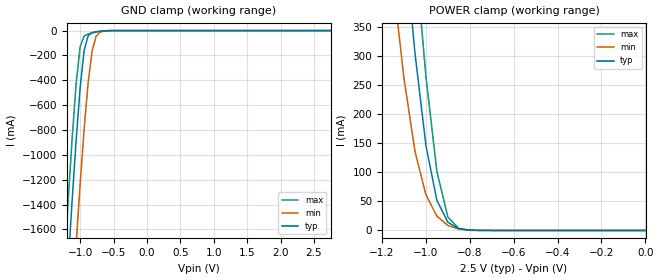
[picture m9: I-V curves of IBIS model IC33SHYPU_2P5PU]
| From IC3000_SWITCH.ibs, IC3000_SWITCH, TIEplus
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|   Model IC33SHYPU_2P5PU
[Model]   IC33SHYPU_2P5PU
Model_type   Input
Polarity   Non-Inverting
Vinl =   0.7500V
Vinh =   1.7500V
C_comp   1.6200pF   1.6200pF   1.6200pF
[Temperature Range]   25.0000   0.1250k   -40.0000
[Voltage Range]   2.5000V   2.2500V   2.7500V
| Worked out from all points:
|   GND clamp passes 1 mA (typ) near -0.59 V on its own axis
|   POWER clamp passes 1 mA (typ) near -0.81 V on its own axis
[GND_clamp]
| voltage   I(typ)   I(min)   I(max)
-2.5V     -14.56A    -15.37A    -14.1A
-1.24V    -2.42A     -3.298A    -1.907A
-1.18V    -1.885A    -2.759A    -1.375A
-1.12V    -1.369A    -2.232A    -871mA
-1.06V    -884.3mA   -1.722A    -427mA
-1V       -460.1mA   -1.237A    -129.1mA
-940mV    -160.3mA   -792.1mA   -42.98mA
-880mV    -41.55mA   -417.1mA   -27.25mA
-820mV    -16.99mA   -160.2mA   -18.17mA
-760mV    -9.549mA   -44.92mA   -10.73mA
-700mV    -5.066mA   -12.55mA   -5.153mA
2.75V     0A         12uA       0A
[POWER_clamp]
| voltage   I(typ)   I(min)   I(max)
-2.5V     8.109A     7.368A     8.703A
-1.15V    732.9mA    428mA      979.8mA
-1.1V     506.3mA    260.8mA    722.9mA
-1.05V    304.4mA    136.2mA    480.2mA
-1V       145.7mA    61.22mA    263.9mA
-950mV    51.68mA    24.61mA    101.1mA
-900mV    14.11mA    8.533mA    23.03mA
-850mV    2.873mA    2.487mA    3.227mA
-800mV    503.3uA    691uA      381.1uA
-750mV    117.8uA    221.6uA    102.3uA
2.5mV     0A         500pA      0A
